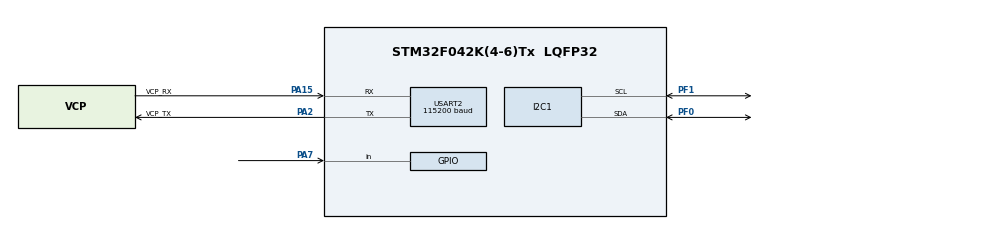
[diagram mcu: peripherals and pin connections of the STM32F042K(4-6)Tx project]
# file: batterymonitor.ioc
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I2C1.I2C_Fall_Time=300
I2C1.I2C_Rise_Time=300
I2C1.OwnAddress=0
I2C1.Timing=0x00401E26
Mcu.Family=STM32F0
Mcu.Name=STM32F042K(4-6)Tx
Mcu.Package=LQFP32
PA13.GPIO_Label=SWDIO
PA13.Mode=Serial_Wire
PA13.Signal=SYS_SWDIO
PA14.GPIO_Label=SWCLK
PA14.Mode=Serial_Wire
PA14.Signal=SYS_SWCLK
PA15.GPIO_Label=VCP_RX
PA15.GPIO_PuPd=GPIO_PULLUP
PA15.Mode=Asynchronous
PA15.Signal=USART2_RX
PA2.GPIO_Label=VCP_TX
PA2.GPIO_PuPd=GPIO_NOPULL
PA2.Mode=Asynchronous
PA2.Signal=USART2_TX
PA7.Signal=GPIO_Input
PF0-OSC_IN.GPIO_Pu=GPIO_NOPULL
PF0-OSC_IN.Mode=I2C
PF0-OSC_IN.Signal=I2C1_SDA
PF1-OSC_OUT.GPIO_Pu=GPIO_NOPULL
PF1-OSC_OUT.Mode=I2C
PF1-OSC_OUT.Signal=I2C1_SCL
ProjectManager.HeapSize=0x200
ProjectManager.StackSize=0x400
ProjectManager.TargetToolchain=STM32CubeIDE
USART2.BaudRate=115200
USART2.Mode=MODE_TX_RX
USART2.VirtualMode-Asynchronous=VM_ASYNC
board=NUCLEO-F042K6

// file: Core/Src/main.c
/* USER CODE BEGIN Header */
/**
  ******************************************************************************
  * @file           : main.c
  * @brief          : Main program body
  ******************************************************************************
  * @attention
  *
  * Copyright (c) 2024 STMicroelectronics.
  * All rights reserved.
  *
  * This software is licensed under terms that can be found in the LICENSE file
  * in the root directory of this software component.
  * If no LICENSE file comes with this software, it is provided AS-IS.
  *
  ******************************************************************************
  */
/* USER CODE END Header */
#include "main.h"

/* USER CODE BEGIN Includes */
#include "stdio.h"

#include "string.h"
#include "battbaby.h"
#include "stm32f0xx_hal_i2c.h"
#include "BQ27441_Definitions.h"
#include "stddef.h"

/* USER CODE END Includes */

/* USER CODE BEGIN PD */
//#define BATTERY_MONITOR_ADDRESS 0b1010101
/* USER CODE END PD */

I2C_HandleTypeDef hi2c1;

UART_HandleTypeDef huart2;

/* USER CODE BEGIN PV */
//uint8_t RX_Buffer [1] ;
//static BQ27441_ctx_t ctx = {0}; //this not needed
BQ27441_ctx_t BQ27441 = {
            .BQ27441_i2c_address = BQ27441_I2C_ADDRESS,
            .read_reg = BQ27441_i2cReadBytes,
            .write_reg = BQ27441_i2cWriteBytes,
};
/* USER CODE END PV */

void SystemClock_Config(void);
static void MX_GPIO_Init(void);
static void MX_USART2_UART_Init(void);
static void MX_I2C1_Init(void);
/* USER CODE BEGIN PFP */
#ifdef __GNUC__
#define PUTCHAR_PROTOTYPE int __io_putchar(int ch)
#else
#define PUTCHAR_PROTOTYPE int fputc(int ch, FILE *f)
#endif

PUTCHAR_PROTOTYPE
{
  HAL_UART_Transmit(&huart2, (uint8_t *)&ch, 1, HAL_MAX_DELAY);
  return ch;
}
/* USER CODE END PFP */

/* USER CODE BEGIN 0 */
/*
 	function writes to slave.
 	returns HAL_OK if write successful
 	uint16_t memAddress: memory address within the BQ27441 where the data should start being written.
	uint8_t *pData: pointer to the array of data bytes that are to be written to the device.
	uint16_t Size:  number of bytes to write.
*/
HAL_StatusTypeDef BQ27441_i2cWriteBytes(uint16_t memAddress, uint8_t *pData, uint16_t Size) {
    return HAL_I2C_Mem_Write(&hi2c1, BQ27441_I2C_ADDRESS << 1, memAddress, I2C_MEMADD_SIZE_8BIT, pData, Size, HAL_MAX_DELAY);
}
/*
 	function read from slave.
 	returns HAL_OK if read successful
	uint16_t memAddress: memory address within the BQ27441 from which the data should start being read.
	uint8_t *pData: pointer to the buffer where the read data will be stored.
	uint16_t Size: number of bytes to read.
*/
HAL_StatusTypeDef BQ27441_i2cReadBytes(uint16_t memAddress, uint8_t *pData, uint16_t Size) {
    return HAL_I2C_Mem_Read(&hi2c1, BQ27441_I2C_ADDRESS << 1, memAddress, I2C_MEMADD_SIZE_8BIT, pData, Size, HAL_MAX_DELAY);
}
/*
	function uses BQ27441_i2cReadBytes to read strictly two bytes of data
	returns a combined 16 bit word.
	uint16_t subAddress: The sub-address or register address within the BQ27441 device from which the 16-bit word will be read.
*/
uint16_t BQ27441_readWord(uint16_t subAddress) {
    uint8_t data[2];
    BQ27441_i2cReadBytes(subAddress, data, 2);
    return ((uint16_t) data[1] << 8) | data[0];
}
/*
	function gets FILTERED/UNFILTERED SoC using BQ27441_readWord
	returns 16 bit SoC value.
	soc_measure type: enumeration value that specifies filtered or unfiltered SoC value should be read. (filtered is basically smoothed out value<-datasheet said so)
*/
uint16_t BQ27441_soc(soc_measure type) {
    //type = FILTERED;
    uint16_t socRet = 0;
    switch (type) {
        case FILTERED:
            socRet = BQ27441_readWord(BQ27441_COMMAND_SOC);
            break;
        case UNFILTERED:
            socRet = BQ27441_readWord(BQ27441_COMMAND_SOC_UNFL);
            break;
    }
    return socRet;
}
/*
	function gets Voltage using BQ27441_readWord
	returns 16 bit voltage value.
*/
uint16_t BQ27441_voltage(void) {
    return BQ27441_readWord(BQ27441_COMMAND_VOLTAGE);
}
/*
	function gets power using BQ27441_readWord
	returns 16 bit power value.
*/
int16_t BQ27441_power(void) {
    return (int16_t) BQ27441_readWord(BQ27441_COMMAND_AVG_POWER);
}

uint16_t BQ27441_deviceType(void) {
	// command sent to slave to tell it master wants to know devicetype
	// 0xFF to get right 8 bits of BQ27441_CONTROL_DEVICE_TYPE
	// >>8 to get left 8 bits, discarding right 8 bits of BQ27441_CONTROL_DEVICE_TYPE
    uint8_t command[2] = {BQ27441_CONTROL_DEVICE_TYPE & 0xFF, BQ27441_CONTROL_DEVICE_TYPE >> 8};
    uint8_t data[2];
    uint16_t deviceType = 0;

    BQ27441_i2cWriteBytes(BQ27441_COMMAND_CONTROL, command, sizeof(command)); //write command to slave

    HAL_Delay(10); //delay to ensure device is ready

    if (BQ27441_i2cReadBytes(BQ27441_COMMAND_CONTROL, data, sizeof(data)) == HAL_OK) { //read device type from control register
        deviceType = (data[1] << 8) | data[0];
    }
    return deviceType;
}
// function to initialize battery, check if device type matches
bool BQ27441_init(BQ27441_ctx_t *dev) {
    if (dev == NULL)
        return false;
//    ctx.read_reg = dev->read_reg;
//    ctx.write_reg = dev->write_reg;
//    ctx.BQ27441_i2c_address = dev->BQ27441_i2c_address;

    if (BQ27441_deviceType() == BQ27441_DEVICE_ID) {
        return true;
    } else
        return false;
}
/* USER CODE END 0 */

int main(void)
{

  /* MCU Configuration--------------------------------------------------------*/

  /* Reset of all peripherals, Initializes the Flash interface and the Systick. */
  HAL_Init();

  /* USER CODE BEGIN Init */
  //BQ27441_init(&BQ27441);
  /* USER CODE END Init */

  /* Configure the system clock */
  SystemClock_Config();

  /* Initialize all configured peripherals */
  MX_GPIO_Init();
  MX_USART2_UART_Init();
  MX_I2C1_Init();
  /* USER CODE BEGIN 2 */
  // below chunk is pretty self explanetory ://
	printf("Starting I2C device scan...\r\n");
	HAL_StatusTypeDef res;
	uint8_t receiveBuffer[1];
	for(uint16_t i = 0; i < 128; i++) {
		res = HAL_I2C_Master_Receive(&hi2c1, (uint16_t)i << 1, receiveBuffer, sizeof(receiveBuffer), HAL_MAX_DELAY);
		if(res == HAL_OK) {
			printf("Device found at address 0x%02X\r\n", i);
			fflush(stdout);
		} else {
			printf(" - ");
			fflush(stdout);
		}
	}
  printf("Attempting to read BQ27441 device type...\r\n");
  uint16_t deviceType = BQ27441_deviceType();
  if (deviceType != 0) {
	  printf("BQ27441 Device Type: 0x%04X\r\n", deviceType);
  } else {
	  printf("Failed to read BQ27441 device type.\r\n");
  }
  if (BQ27441_init(&BQ27441)) {
	  printf("BQ27441 initialization successful.\r\n");
	  uint16_t socValue = BQ27441_soc(FILTERED);
	    printf("State of Charge: %u%%\n", socValue);
	    uint16_t voltage = BQ27441_voltage();
	    printf("Voltage: %umV\r\n", voltage);
	    uint16_t power = BQ27441_power();
	    printf("Power: %umAh\r\n", power);
  } else {
	  printf("BQ27441 initialization failed.\r\n");
  }

  /* USER CODE END 2 */

  /* Infinite loop */
  while (1)
  {

  }
}

void SystemClock_Config(void)
{
  RCC_OscInitTypeDef RCC_OscInitStruct = {0};
  RCC_ClkInitTypeDef RCC_ClkInitStruct = {0};
  RCC_PeriphCLKInitTypeDef PeriphClkInit = {0};

  /** Initializes the RCC Oscillators according to the specified parameters
  * in the RCC_OscInitTypeDef structure.
  */
  RCC_OscInitStruct.OscillatorType = RCC_OSCILLATORTYPE_HSI;
  RCC_OscInitStruct.HSIState = RCC_HSI_ON;
  RCC_OscInitStruct.HSICalibrationValue = RCC_HSICALIBRATION_DEFAULT;
  RCC_OscInitStruct.PLL.PLLState = RCC_PLL_NONE;
  if (HAL_RCC_OscConfig(&RCC_OscInitStruct) != HAL_OK)
  {
    Error_Handler();
  }

  /** Initializes the CPU, AHB and APB buses clocks
  */
  RCC_ClkInitStruct.ClockType = RCC_CLOCKTYPE_HCLK|RCC_CLOCKTYPE_SYSCLK
                              |RCC_CLOCKTYPE_PCLK1;
  RCC_ClkInitStruct.SYSCLKSource = RCC_SYSCLKSOURCE_HSI;
  RCC_ClkInitStruct.AHBCLKDivider = RCC_SYSCLK_DIV1;
  RCC_ClkInitStruct.APB1CLKDivider = RCC_HCLK_DIV1;

  if (HAL_RCC_ClockConfig(&RCC_ClkInitStruct, FLASH_LATENCY_0) != HAL_OK)
  {
    Error_Handler();
  }
  PeriphClkInit.PeriphClockSelection = RCC_PERIPHCLK_I2C1;
  PeriphClkInit.I2c1ClockSelection = RCC_I2C1CLKSOURCE_HSI;
  if (HAL_RCCEx_PeriphCLKConfig(&PeriphClkInit) != HAL_OK)
  {
    Error_Handler();
  }
}

static void MX_I2C1_Init(void)
{

  hi2c1.Instance = I2C1;
  hi2c1.Init.Timing = 0x00401E26;
  hi2c1.Init.OwnAddress1 = 0;
  hi2c1.Init.AddressingMode = I2C_ADDRESSINGMODE_7BIT;
  hi2c1.Init.DualAddressMode = I2C_DUALADDRESS_DISABLE;
  hi2c1.Init.OwnAddress2 = 0;
  hi2c1.Init.OwnAddress2Masks = I2C_OA2_NOMASK;
  hi2c1.Init.GeneralCallMode = I2C_GENERALCALL_DISABLE;
  hi2c1.Init.NoStretchMode = I2C_NOSTRETCH_DISABLE;
  if (HAL_I2C_Init(&hi2c1) != HAL_OK)
  {
    Error_Handler();
  }

  /** Configure Analogue filter
  */
  if (HAL_I2CEx_ConfigAnalogFilter(&hi2c1, I2C_ANALOGFILTER_ENABLE) != HAL_OK)
  {
    Error_Handler();
  }

  /** Configure Digital filter
  */
  if (HAL_I2CEx_ConfigDigitalFilter(&hi2c1, 0) != HAL_OK)
  {
    Error_Handler();
  }

}

static void MX_USART2_UART_Init(void)
{

  huart2.Instance = USART2;
  huart2.Init.BaudRate = 115200;
  huart2.Init.WordLength = UART_WORDLENGTH_8B;
  huart2.Init.StopBits = UART_STOPBITS_1;
  huart2.Init.Parity = UART_PARITY_NONE;
  huart2.Init.Mode = UART_MODE_TX_RX;
  huart2.Init.HwFlowCtl = UART_HWCONTROL_NONE;
  huart2.Init.OverSampling = UART_OVERSAMPLING_16;
  huart2.Init.OneBitSampling = UART_ONE_BIT_SAMPLE_DISABLE;
  huart2.AdvancedInit.AdvFeatureInit = UART_ADVFEATURE_NO_INIT;
  if (HAL_UART_Init(&huart2) != HAL_OK)
  {
    Error_Handler();
  }

}

static void MX_GPIO_Init(void)
{
  GPIO_InitTypeDef GPIO_InitStruct = {0};

  /* GPIO Ports Clock Enable */
  __HAL_RCC_GPIOF_CLK_ENABLE();
  __HAL_RCC_GPIOA_CLK_ENABLE();

  /*Configure GPIO pin : PA7 */
  GPIO_InitStruct.Pin = GPIO_PIN_7;
  GPIO_InitStruct.Mode = GPIO_MODE_INPUT;
  GPIO_InitStruct.Pull = GPIO_NOPULL;
  HAL_GPIO_Init(GPIOA, &GPIO_InitStruct);

}

void Error_Handler(void)
{
  __disable_irq();
  while (1)
  {
  }
}
